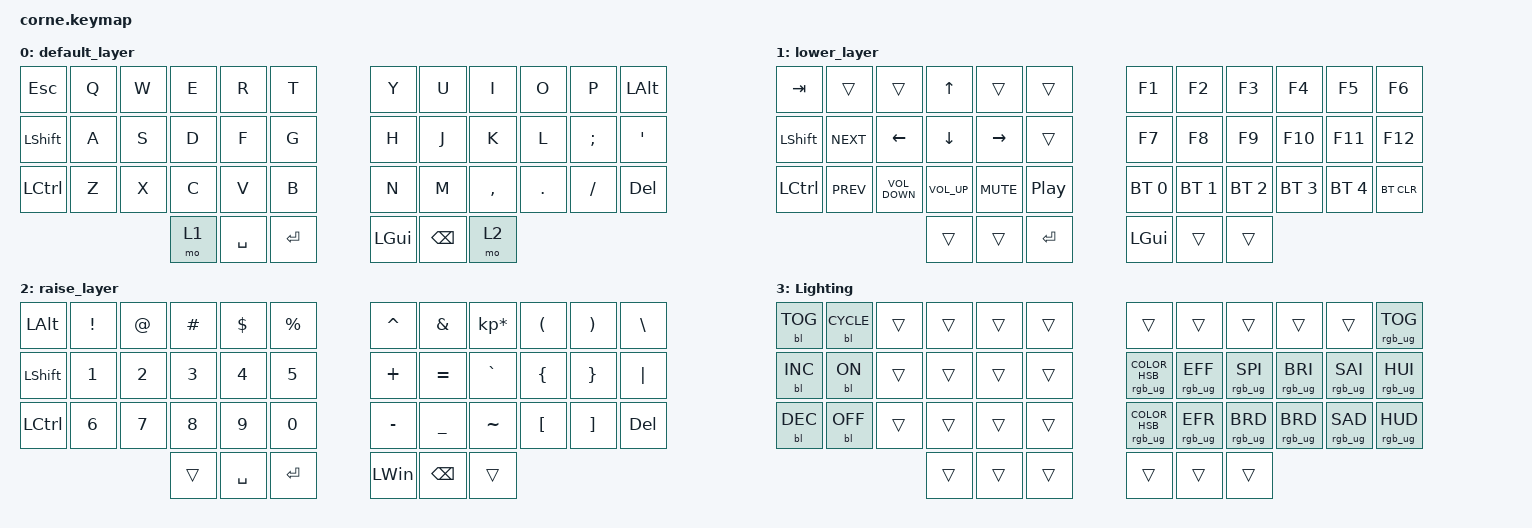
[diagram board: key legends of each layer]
/*
 * Copyright (c) 2020 The ZMK Contributors
 *
 * SPDX-License-Identifier: MIT
 */

#include <behaviors.dtsi>
#include <dt-bindings/zmk/backlight.h>
#include <dt-bindings/zmk/bt.h>
#include <dt-bindings/zmk/keys.h>
#include <dt-bindings/zmk/rgb.h>

&led_strip { chain-length = <27>; };

/ {
    keymap {
        compatible = "zmk,keymap";

        default_layer {
            // -----------------------------------------------------------------------------------------
            // |  TAB |  Q  |  W  |  E  |  R  |  T  |   |  Y  |  U   |  I  |  O  |  P  | BKSP |
            // | CTRL |  A  |  S  |  D  |  F  |  G  |   |  H  |  J   |  K  |  L  |  ;  |  '   |
            // | SHFT |  Z  |  X  |  C  |  V  |  B  |   |  N  |  M   |  ,  |  .  |  /  | SHFT |
            //                    | GUI | LWR | ENT |   | SPC | RSE  | ALT |

            bindings = <
&kp ESCAPE      &kp Q  &kp W  &kp E  &kp R      &kp T         &kp Y         &kp U          &kp I      &kp O    &kp P     &kp LEFT_ALT
&kp LEFT_SHIFT  &kp A  &kp S  &kp D  &kp F      &kp G         &kp H         &kp J          &kp K      &kp L    &kp SEMI  &kp SQT
&kp LCTRL       &kp Z  &kp X  &kp C  &kp V      &kp B         &kp N         &kp M          &kp COMMA  &kp DOT  &kp FSLH  &kp DEL
                              &mo 1  &kp SPACE  &kp RETURN    &kp LEFT_GUI  &kp BACKSPACE  &mo 2
            >;
        };

        lower_layer {
            // -----------------------------------------------------------------------------------------
            // |  TAB |  1    |  2  |  3  |  4  |  5  |   |  6  |  7  |  8  |  9  |  0  | BKSP |
            // | LCTRL| BTCLR | BT0 | BT1 | BT2 | BT3 |   | LFT | DWN |  UP | RGT |     |      |
            // | ESC  |       | HOME| PGUP| PGDN| END |   |     |     |     |     |     |      |
            //                      | GUI |     | SPC |   | ENT |     | ALT |

            bindings = <
&kp TAB         &trans      &trans             &kp UP_ARROW     &trans           &trans              &kp F1        &kp F2        &kp F3        &kp F4        &kp F5        &kp F6
&kp LEFT_SHIFT  &kp C_NEXT  &kp LEFT           &kp DOWN         &kp RIGHT_ARROW  &trans              &kp F7        &kp F8        &kp F9        &kp F10       &kp F11       &kp F12
&kp LCTRL       &kp C_PREV  &kp C_VOLUME_DOWN  &kp C_VOLUME_UP  &kp C_MUTE       &kp C_PLAY_PAUSE    &bt BT_SEL 0  &bt BT_SEL 1  &bt BT_SEL 2  &bt BT_SEL 3  &bt BT_SEL 4  &bt BT_CLR
                                               &trans           &trans           &kp ENTER           &kp LEFT_GUI  &trans        &trans
            >;
        };

        raise_layer {
            // -----------------------------------------------------------------------------------------
            // |  TAB |   !   |   @   |   #   |   $   |   %   |   |  ^  |  &  |  *  |  (  |  )  | BKSP |
            // | CTRL |RGB_TOG|RGB_HUI|RGB_SAI|RGB_VAI|       |   |  -  |  =  |  [  |  ]  |  \  |  `   |
            // | SHFT |RGB_MOD|RGB_HUD|RGB_SAD|RGB_VAD|QK_BOOT|   |  _  |  +  |  {  |  }  | "|" |  ~   |
            //                            | GUI |     |  SPC  |   | ENT |     | ALT |

            bindings = <
&kp LEFT_ALT    &kp EXCL  &kp AT  &kp HASH  &kp DLLR   &kp PRCNT    &kp CARET     &kp AMPS        &kp KP_MULTIPLY  &kp LPAR          &kp RPAR           &kp BSLH
&kp LEFT_SHIFT  &kp N1    &kp N2  &kp N3    &kp N4     &kp N5       &kp PLUS      &kp EQUAL       &kp GRAVE        &kp LEFT_BRACE    &kp RIGHT_BRACE    &kp PIPE
&kp LCTRL       &kp N6    &kp N7  &kp N8    &kp N9     &kp N0       &kp MINUS     &kp UNDERSCORE  &kp TILDE        &kp LEFT_BRACKET  &kp RIGHT_BRACKET  &kp DELETE
                                  &trans    &kp SPACE  &kp RET      &kp LEFT_WIN  &kp BACKSPACE   &trans
            >;
        };

        Lighting {
            bindings = <
&bl BL_TOG  &bl BL_CYCLE  &trans  &trans  &trans  &trans    &trans                            &trans           &trans           &trans           &trans           &rgb_ug RGB_TOG
&bl BL_INC  &bl BL_ON     &trans  &trans  &trans  &trans    &rgb_ug RGB_COLOR_HSB(136,63,53)  &rgb_ug RGB_EFF  &rgb_ug RGB_SPI  &rgb_ug RGB_BRI  &rgb_ug RGB_SAI  &rgb_ug RGB_HUI
&bl BL_DEC  &bl BL_OFF    &trans  &trans  &trans  &trans    &rgb_ug RGB_COLOR_HSB(0,0,100)    &rgb_ug RGB_EFR  &rgb_ug RGB_BRD  &rgb_ug RGB_BRD  &rgb_ug RGB_SAD  &rgb_ug RGB_HUD
                                  &trans  &trans  &trans    &trans                            &trans           &trans
            >;
        };
    };

    conditional_layers {
        compatible = "zmk,conditional-layers";

        Lighting {
            if-layers = <1 2>;
            then-layer = <3>;
        };
    };
};
